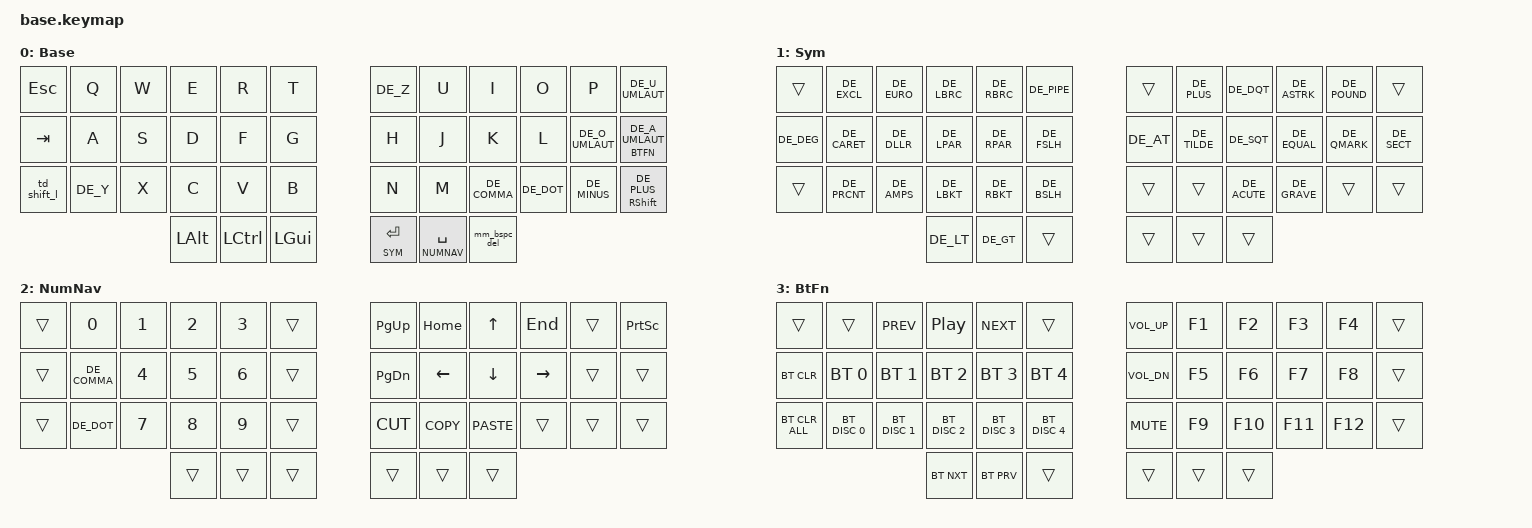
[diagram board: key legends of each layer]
/*
 * Copyright (c) 2020 The ZMK Contributors
 *
 * SPDX-License-Identifier: MIT
 */

// Define layer numbers
#define BASE 0
#define SYM 1
#define NUMNAV 2
#define BTFN 3
//#define BLTH 4
//#define NUM 5


// ZMK includes
#include <behaviors.dtsi>
#include <dt-bindings/zmk/keys.h>
#include <dt-bindings/zmk/bt.h>

// ZMK-locales includes
#include <locale/keys_de.h>

// Personal includes
#include "includes/settings.dtsi"
#include "includes/combos.dtsi"
#include "includes/behaviours_homerow_mods.dtsi"
#include "includes/behaviours_mod_morph.dtsi"
#include "includes/behaviours_other.dtsi"

/ {

  keymap {
    compatible = "zmk,keymap";



    Base_layer {
      display-name = "Base";
      bindings = <
// ╭────────────────────────┬────────────────────────┬────────────────────────┬────────────────────────┬────────────────────────┬────────────────────────╮    ╭────────────────────────┬────────────────────────┬────────────────────────┬───────────────────────┬────────────────────────┬────────────────────────╮
     &kp ESC                  &kp Q                    &kp W                    &kp E                    &kp R                    &kp T                         &kp DE_Z                 &kp U                    &kp I                    &kp O                   &kp P                    &kp DE_U_UMLAUT
// ├────────────────────────┼────────────────────────┼────────────────────────┼────────────────────────┼────────────────────────┼────────────────────────┤    ├────────────────────────┼────────────────────────┼────────────────────────┼───────────────────────┼────────────────────────┼────────────────────────┤
     &kp TAB                  &kp A                    &kp S                    &kp D                    &kp F                    &kp G                         &kp H                    &kp J                    &kp K                    &kp L                   &kp DE_O_UMLAUT          &lt BTFN DE_A_UMLAUT
// ├────────────────────────┼────────────────────────┼────────────────────────┼────────────────────────┼────────────────────────┼────────────────────────┤    ├────────────────────────┼────────────────────────┼────────────────────────┼───────────────────────┼────────────────────────┼────────────────────────┤
     &td_shift_l              &kp DE_Y                 &kp X                    &kp C                    &kp V                    &kp B                         &kp N                    &kp M                    &kp DE_COMMA             &kp DE_DOT              &kp DE_MINUS             &mt RSHFT DE_PLUS
// ╰────────────────────────┴────────────────────────┴────────────────────────┴────────────────────────┼────────────────────────┼────────────────────────┤    ├────────────────────────┼────────────────────────┼────────────────────────┼───────────────────────┼────────────────────────┼────────────────────────╯
                                                                                &kp LALT                 &kp LCTRL                &kp LGUI                      &lt SYM RET              &lt NUMNAV SPACE            &mm_bspc_del
//                                                                            ╰────────────────────────┴────────────────────────┴────────────────────────╯    ╰────────────────────────┴────────────────────────┴────────────────────────╯
      >;
    };

    Sym_layer {
      display-name = "Sym";
      bindings = <
// ╭────────────────────────┬────────────────────────┬────────────────────────┬────────────────────────┬────────────────────────┬────────────────────────╮    ╭────────────────────────┬────────────────────────┬────────────────────────┬───────────────────────┬────────────────────────┬────────────────────────╮
     &trans                   &kp DE_EXCL              &kp DE_EURO              &kp DE_LBRC              &kp DE_RBRC              &kp DE_PIPE                   &trans                   &kp DE_PLUS              &kp DE_DQT               &kp DE_ASTRK            &kp DE_POUND             &trans
// ├────────────────────────┼────────────────────────┼────────────────────────┼────────────────────────┼────────────────────────┼────────────────────────┤    ├────────────────────────┼────────────────────────┼────────────────────────┼───────────────────────┼────────────────────────┼────────────────────────┤
     &kp DE_DEG               &kp DE_CARET             &kp DE_DLLR              &kp DE_LPAR              &kp DE_RPAR              &kp DE_FSLH                   &kp DE_AT                &kp DE_TILDE             &kp DE_SQT               &kp DE_EQUAL            &kp DE_QMARK             &kp DE_SECT
// ├────────────────────────┼────────────────────────┼────────────────────────┼────────────────────────┼────────────────────────┼────────────────────────┤    ├────────────────────────┼────────────────────────┼────────────────────────┼───────────────────────┼────────────────────────┼────────────────────────┤
     &trans                   &kp DE_PRCNT             &kp DE_AMPS              &kp DE_LBKT              &kp DE_RBKT              &kp DE_BSLH                   &trans                   &trans                   &kp DE_ACUTE             &kp DE_GRAVE            &trans                   &trans
// ╰────────────────────────┴────────────────────────┴────────────────────────┴────────────────────────┼────────────────────────┼────────────────────────┤    ├────────────────────────┼────────────────────────┼────────────────────────┼───────────────────────┼────────────────────────┼────────────────────────╯
                                                                                &kp DE_LT                &kp DE_GT                &trans                        &trans                   &trans                   &trans
//                                                                            ╰────────────────────────┴────────────────────────┴────────────────────────╯    ╰────────────────────────┴────────────────────────┴────────────────────────╯
      >;
    };

    NumNav_layer {
      display-name = "NumNav";
      bindings = <
// ╭────────────────────────┬────────────────────────┬────────────────────────┬────────────────────────┬────────────────────────┬────────────────────────╮    ╭────────────────────────┬────────────────────────┬────────────────────────┬────────────────────────┬────────────────────────┬────────────────────────╮
     &trans                   &kp N0                   &kp N1                   &kp N2                   &kp N3                   &trans                        &kp PAGE_UP              &kp HOME                 &kp UP                   &kp END                  &trans                   &kp PSCRN
// ├────────────────────────┼────────────────────────┼────────────────────────┼────────────────────────┼────────────────────────┼────────────────────────┤    ├────────────────────────┼────────────────────────┼────────────────────────┼────────────────────────┼────────────────────────┼────────────────────────┤
     &trans                   &kp DE_COMMA             &kp N4                   &kp N5                   &kp N6                   &trans                        &kp PAGE_DOWN            &kp LEFT                 &kp DOWN                 &kp RIGHT                &trans                   &trans
// ├────────────────────────┼────────────────────────┼────────────────────────┼────────────────────────┼────────────────────────┼────────────────────────┤    ├────────────────────────┼────────────────────────┼────────────────────────┼────────────────────────┼────────────────────────┼────────────────────────┤
     &trans                   &kp DE_DOT               &kp N7                   &kp N8                   &kp N9                   &trans                        &kp K_CUT                &kp K_COPY               &kp K_PASTE              &trans                   &trans                   &trans
// ╰────────────────────────┴────────────────────────┴────────────────────────┴────────────────────────┼────────────────────────┼────────────────────────┤    ├────────────────────────┼────────────────────────┼────────────────────────┼────────────────────────┴────────────────────────┼────────────────────────╯
                                                                                &trans                   &trans                   &trans                        &trans                   &trans                   &trans
//                                                                            ╰────────────────────────┴────────────────────────┴────────────────────────╯    ╰────────────────────────┴────────────────────────┴────────────────────────╯
      >;
    };

    BtFn_layer {
      display-name = "BtFn";
      bindings = <
// ╭────────────────────────┬────────────────────────┬────────────────────────┬────────────────────────┬────────────────────────┬────────────────────────╮    ╭────────────────────────┬────────────────────────┬────────────────────────┬────────────────────────┬────────────────────────┬────────────────────────╮
     &trans                   &trans                   &kp C_PREV               &kp C_PP                 &kp C_NEXT               &trans                        &kp C_VOL_UP             &kp F1                   &kp F2                   &kp F3                   &kp F4                   &trans
// ├────────────────────────┼────────────────────────┼────────────────────────┼────────────────────────┼────────────────────────┼────────────────────────┤    ├────────────────────────┼────────────────────────┼────────────────────────┼────────────────────────┼────────────────────────┼────────────────────────┤
     &bt BT_CLR               &bt BT_SEL 0             &bt BT_SEL 1             &bt BT_SEL 2             &bt BT_SEL 3             &bt BT_SEL 4                  &kp C_VOL_DN             &kp F5                   &kp F6                   &kp F7                   &kp F8                   &trans
// ├────────────────────────┼────────────────────────┼────────────────────────┼────────────────────────┼────────────────────────┼────────────────────────┤    ├────────────────────────┼────────────────────────┼────────────────────────┼────────────────────────┼────────────────────────┼────────────────────────┤
     &bt BT_CLR_ALL           &bt BT_DISC 0            &bt BT_DISC 1            &bt BT_DISC 2            &bt BT_DISC 3            &bt BT_DISC 4                 &kp C_MUTE               &kp F9                   &kp F10                  &kp F11                  &kp F12                  &trans
// ╰────────────────────────┴────────────────────────┴────────────────────────┴────────────────────────┼────────────────────────┼────────────────────────┤    ├────────────────────────┼────────────────────────┼────────────────────────┼────────────────────────┴────────────────────────┼────────────────────────╯
                                                                                &bt BT_NXT               &bt BT_PRV               &trans                        &trans                   &trans                   &trans
//                                                                            ╰────────────────────────┴────────────────────────┴────────────────────────╯    ╰────────────────────────┴────────────────────────┴────────────────────────╯
      >;
    };

//    BT_layer {
//      display-name = "BT";
//      bindings = <
//// ╭────────────────────────┬────────────────────────┬────────────────────────┬────────────────────────┬────────────────────────┬────────────────────────╮    ╭────────────────────────┬────────────────────────┬────────────────────────┬────────────────────────┬────────────────────────┬────────────────────────╮
//     &trans                   &trans                   &trans                   &trans                   &trans                   &trans                        &to BASE                 &trans                   &trans                   &trans                   &trans                   &trans
//// ├────────────────────────┼────────────────────────┼────────────────────────┼────────────────────────┼────────────────────────┼────────────────────────┤    ├────────────────────────┼────────────────────────┼────────────────────────┼────────────────────────┼────────────────────────┼────────────────────────┤
//     &trans                   &trans                   &trans                   &trans                   &trans                   &trans                        &bt BT_CLR               &bt BT_SEL 0             &bt BT_SEL 1             &bt BT_SEL 2             &bt BT_SEL 3             &bt BT_SEL 4
//// ├────────────────────────┼────────────────────────┼────────────────────────┼────────────────────────┼────────────────────────┼────────────────────────┤    ├────────────────────────┼────────────────────────┼────────────────────────┼────────────────────────┼────────────────────────┼────────────────────────┤
//     &trans                   &trans                   &trans                   &trans                   &trans                   &trans                        &bt BT_CLR_ALL           &bt BT_DISC 0            &bt BT_DISC 1            &bt BT_DISC 2            &bt BT_DISC 3            &bt BT_DISC 4
//// ╰────────────────────────┴────────────────────────┴────────────────────────┴────────────────────────┼────────────────────────┼────────────────────────┤    ├────────────────────────┼────────────────────────┼────────────────────────┼────────────────────────┴────────────────────────┼────────────────────────╯
//                                                                                &trans                   &trans                   &trans                        &bt BT_NXT               &bt BT_PRV               &trans
////                                                                            ╰────────────────────────┴────────────────────────┴────────────────────────╯    ╰────────────────────────┴────────────────────────┴────────────────────────╯
//      >;
//    };

//    NumNav_layer {
//      display-name = "NumNav";
//      bindings = <
//// ╭────────────────────────┬────────────────────────┬────────────────────────┬────────────────────────┬────────────────────────┬────────────────────────╮    ╭────────────────────────┬────────────────────────┬────────────────────────┬────────────────────────┬────────────────────────┬────────────────────────╮
//     &trans                   &trans                   &kp N1                   &kp N2                   &kp N3                   &trans                        &kp PAGE_UP              &kp HOME                 &kp UP                   &kp END                  &trans                   &trans
//// ├────────────────────────┼────────────────────────┼────────────────────────┼────────────────────────┼────────────────────────┼────────────────────────┤    ├────────────────────────┼────────────────────────┼────────────────────────┼────────────────────────┼────────────────────────┼────────────────────────┤
//     &trans                   &trans                   &hm_l LALT N4            &hm_l LCTRL N5           &hm_l LGUI N6            &trans                        &kp PAGE_DOWN            &hm_r RGUI LEFT          &hm_r RCTRL DOWN         &hm_r RALT RIGHT         &trans                   &trans
//// ├────────────────────────┼────────────────────────┼────────────────────────┼────────────────────────┼────────────────────────┼────────────────────────┤    ├────────────────────────┼────────────────────────┼────────────────────────┼────────────────────────┼────────────────────────┼────────────────────────┤
//     &trans                   &trans                   &kp N7                   &kp N8                   &kp N9                   &trans                        &kp K_CUT                &kp K_COPY               &kp K_PASTE              &trans                   &trans                   &trans
//// ╰────────────────────────┴────────────────────────┴────────────────────────┴────────────────────────┼────────────────────────┼────────────────────────┤    ├────────────────────────┼────────────────────────┼────────────────────────┼────────────────────────┴────────────────────────┼────────────────────────╯
//                                                                                &kp N0                   &kp N0                   &trans                        &trans                   &trans                   &trans
////                                                                            ╰────────────────────────┴────────────────────────┴────────────────────────╯    ╰────────────────────────┴────────────────────────┴────────────────────────╯
//      >;
//    };

//    Fn_layer {
//      display-name = "Fn";
//      bindings = <
//// ╭────────────────────────┬────────────────────────┬────────────────────────┬────────────────────────┬────────────────────────┬────────────────────────╮    ╭────────────────────────┬────────────────────────┬────────────────────────┬────────────────────────┬────────────────────────┬────────────────────────╮
//     &trans                   &trans                   &trans                   &trans                   &trans                   &trans                        &to BLTH                 &kp F1                   &kp F2                   &kp F3                   &kp F4                   &trans
//// ├────────────────────────┼────────────────────────┼────────────────────────┼────────────────────────┼────────────────────────┼────────────────────────┤    ├────────────────────────┼────────────────────────┼────────────────────────┼────────────────────────┼────────────────────────┼────────────────────────┤
//     &trans                   &trans                   &kp C_PREV               &kp C_PP                 &kp C_NEXT               &trans                        &trans                   &kp F5                   &kp F6                   &kp F7                   &kp F8                   &trans
//// ├────────────────────────┼────────────────────────┼────────────────────────┼────────────────────────┼────────────────────────┼────────────────────────┤    ├────────────────────────┼────────────────────────┼────────────────────────┼────────────────────────┼────────────────────────┼────────────────────────┤
//     &trans                   &trans                   &kp C_MUTE               &kp C_VOL_DN             &kp C_VOL_UP             &trans                        &trans                   &kp F9                   &kp F10                  &kp F11                  &kp F12                  &trans
//// ╰────────────────────────┴────────────────────────┴────────────────────────┴────────────────────────┼────────────────────────┼────────────────────────┤    ├────────────────────────┼────────────────────────┼────────────────────────┼────────────────────────┴────────────────────────┼────────────────────────╯
//                                                                                &trans                   &trans                   &trans                        &trans                   &trans                   &trans
////                                                                            ╰────────────────────────┴────────────────────────┴────────────────────────╯    ╰────────────────────────┴────────────────────────┴────────────────────────╯
//      >;
//    };

//    Num_layer {
//      display-name = "Num";
//      bindings = <
//// ╭────────────────────────┬────────────────────────┬────────────────────────┬────────────────────────┬────────────────────────┬────────────────────────╮    ╭────────────────────────┬────────────────────────┬────────────────────────┬────────────────────────┬────────────────────────┬────────────────────────╮
//     &trans                   &trans                   &kp N1                   &kp N2                   &kp N3                   &trans                        &trans                   &kp F1                   &kp F2                   &kp F3                   &kp F4                   &trans
//// ├────────────────────────┼────────────────────────┼────────────────────────┼────────────────────────┼────────────────────────┼────────────────────────┤    ├────────────────────────┼────────────────────────┼────────────────────────┼────────────────────────┼────────────────────────┼────────────────────────┤
//     &trans                   &trans                   &kp N4                   &kp N5                   &kp N6                   &trans                        &trans                   &kp F5                   &kp F6                   &kp F7                   &kp F8                   &trans
//// ├────────────────────────┼────────────────────────┼────────────────────────┼────────────────────────┼────────────────────────┼────────────────────────┤    ├────────────────────────┼────────────────────────┼────────────────────────┼────────────────────────┼────────────────────────┼────────────────────────┤
//     &trans                   &trans                   &kp N7                   &kp N8                   &kp N9                   &trans                        &trans                   &kp F9                   &kp F10                  &kp F11                  &kp F12                  &trans
//// ╰────────────────────────┴────────────────────────┴────────────────────────┴────────────────────────┼────────────────────────┼────────────────────────┤    ├────────────────────────┼────────────────────────┼────────────────────────┼────────────────────────┴────────────────────────┼────────────────────────╯
//                                                                                &kp N0                   &trans                   &trans                        &trans                   &trans                   &trans
////                                                                            ╰────────────────────────┴────────────────────────┴────────────────────────╯    ╰────────────────────────┴────────────────────────┴────────────────────────╯
//      >;
//    };
//
//    Nav_layer {
//      display-name = "Nav";
//      bindings = <
//// ╭────────────────────────┬────────────────────────┬────────────────────────┬────────────────────────┬────────────────────────┬────────────────────────╮    ╭────────────────────────┬────────────────────────┬────────────────────────┬────────────────────────┬────────────────────────┬────────────────────────╮
//     &kp ESC                  &kp F9                   &kp F10                  &kp F11                  &kp F12                  &kp C_VOL_UP                  &to BASE                 &kp C_PP                 &kp UP                   &kp INSERT               &kp HOME                 &kp PAGE_UP
//// ├────────────────────────┼────────────────────────┼────────────────────────┼────────────────────────┼────────────────────────┼────────────────────────┤    ├────────────────────────┼────────────────────────┼────────────────────────┼────────────────────────┼────────────────────────┼────────────────────────┤
//     &mm_bspc_del             &kp F5                   &kp F6                   &kp F7                   &kp F8                   &kp C_VOL_DN                  &to NUMNAV               &kp LEFT                 &kp DOWN                 &kp RIGHT                &kp END                  &kp PAGE_DOWN
//// ├────────────────────────┼────────────────────────┼────────────────────────┼────────────────────────┼────────────────────────┼────────────────────────┤    ├────────────────────────┼────────────────────────┼────────────────────────┼────────────────────────┼────────────────────────┼────────────────────────┤
//     &kp LSHFT                &kp F1                   &kp F2                   &kp F3                   &kp F4                   &kp C_MUTE                    &to BLTH                 &kp PSCRN                &kp SLCK                 &kp PAUSE_BREAK          &kp KP_NUMLOCK           &kp LEFT_GUI
//// ╰────────────────────────┴────────────────────────┴────────────────────────┴────────────────────────┼────────────────────────┼────────────────────────┤    ├────────────────────────┼────────────────────────┼────────────────────────┼────────────────────────┴────────────────────────┼────────────────────────╯
//                                                                                &kp TAB                  &kp ENTER                &kp LSHFT                     &trans                   &kp SPACE                &trans
////                                                                            ╰────────────────────────┴────────────────────────┴────────────────────────╯    ╰────────────────────────┴────────────────────────┴────────────────────────╯
//      >;
//    };

  };

};
